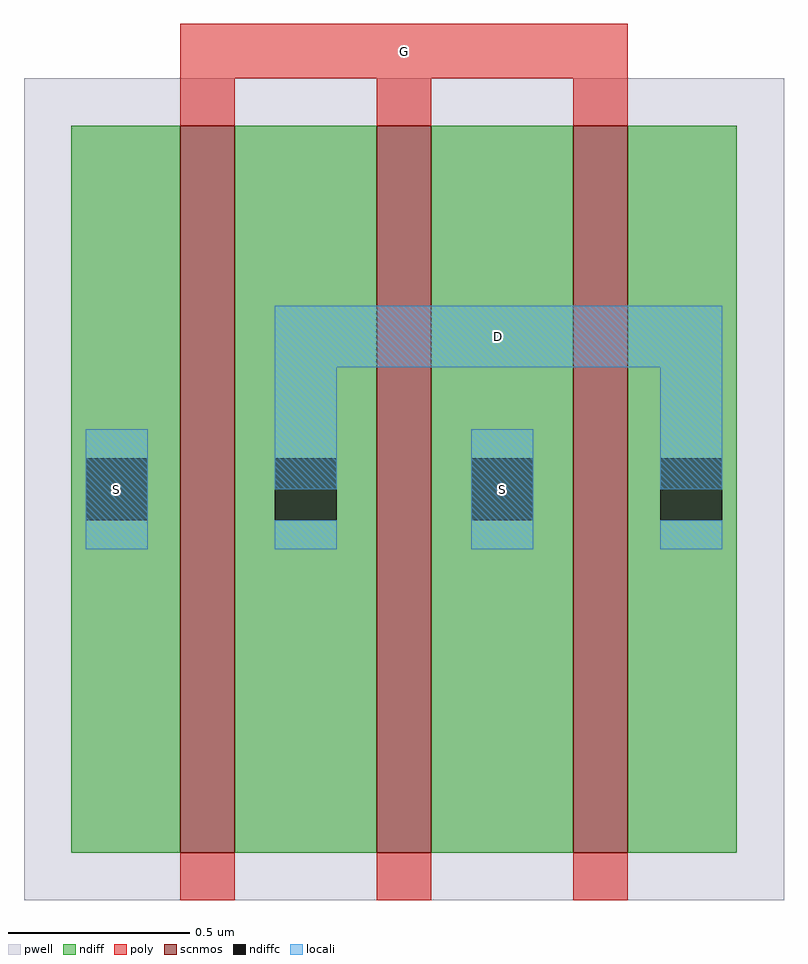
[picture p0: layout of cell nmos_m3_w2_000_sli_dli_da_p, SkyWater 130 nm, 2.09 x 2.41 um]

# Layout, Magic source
magic
tech sky130A
magscale 1 2
<< pwell >>
rect -26 -26 392 426
<< scnmos >>
rect 60 0 90 400
rect 168 0 198 400
rect 276 0 306 400
<< ndiff >>
rect 0 0 60 400
rect 90 0 168 400
rect 198 0 276 400
rect 306 0 366 400
<< poly >>
rect 60 426 306 456
rect 60 400 90 426
rect 168 400 198 426
rect 276 400 306 426
rect 60 -26 90 0
rect 168 -26 198 0
rect 276 -26 306 0
<< locali >>
rect 112 267 358 301
rect 8 167 42 233
rect 112 200 146 267
rect 220 167 254 233
rect 324 200 358 267
use contact_11  contact_11_0
transform 1 0 316 0 1 167
box -26 -22 76 88
use contact_11  contact_11_1
transform 1 0 212 0 1 167
box -26 -22 76 88
use contact_11  contact_11_2
transform 1 0 104 0 1 167
box -26 -22 76 88
use contact_11  contact_11_3
transform 1 0 0 0 1 167
box -26 -22 76 88
<< labels >>
rlabel poly s 183 441 183 441 4 G
rlabel locali s 25 200 25 200 4 S
rlabel locali s 237 200 237 200 4 S
rlabel locali s 235 284 235 284 4 D
<< properties >>
string FIXED_BBOX -25 -26 391 456
<< end >>

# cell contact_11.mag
magic
tech sky130A
<< pwell >>
rect -13 -11 38 44
<< ndiff >>
rect 0 25 25 31
rect 0 8 4 25
rect 21 8 25 25
rect 0 2 25 8
<< ndiffc >>
rect 4 8 21 25
<< locali >>
rect 4 25 21 33
rect 4 0 21 8
<< properties >>
string FIXED_BBOX -12 -10 37 43
<< end >>
